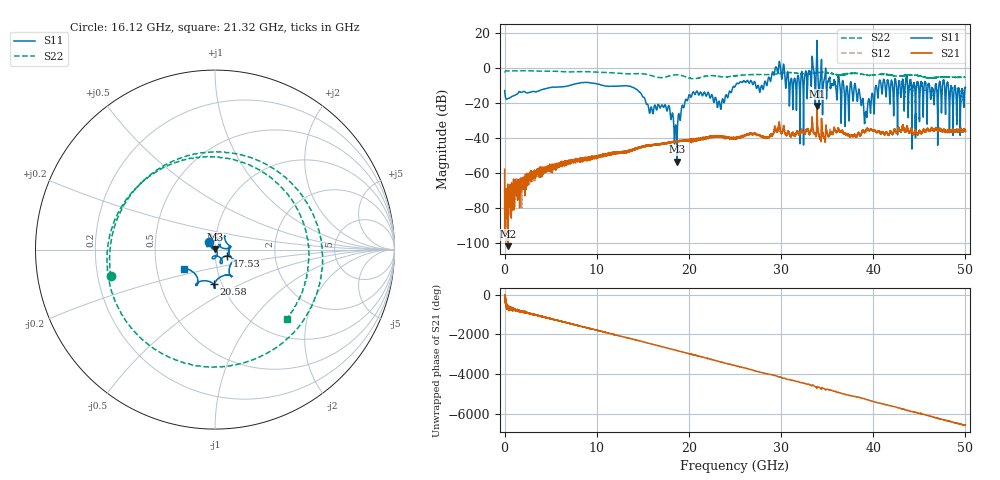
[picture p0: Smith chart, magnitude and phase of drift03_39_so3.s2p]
!Created with skrf (http://scikit-rf.org).
# Hz S RI R 50.0
!freq ReS11 ImS11 ReS21 ImS21 ReS12 ImS12 ReS22 ImS22
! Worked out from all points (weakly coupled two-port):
!   10001 points, 300 kHz to 50 GHz, reference 50 ohm
!   highest |S21| = -21.46 dB at 33.9 GHz (marker M1); lowest = -101.7 dB at 340.3 MHz (marker M2)
!   lowest |S11| = -53.5 dB at 18.7 GHz (marker M3), VSWR 1.00, Z = 50 + j0.212 ohm
!   |S11| at or under -10 dB: start of sweep to 6.947 GHz; 13.33 GHz to 25.05 GHz (11.72 GHz wide, 61.1 % of centre); 38.08 GHz to 40.26 GHz (2.189 GHz wide, 5.59 % of centre) (the widest 3 of 58)
!   |S22| runs from -5.9 to -1.3 dB; largest |S21 - S12| = 0.008
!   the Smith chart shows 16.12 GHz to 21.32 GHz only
!   S11 on the Smith chart (normalised r, x): 16.12 GHz: 0.94, +0.08; 17.53 GHz: 1.14, -0.08; 20.58 GHz: 0.92, -0.36; 21.32 GHz: 0.69, -0.16
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300000  -0.2104 -0.0984  -0.000812 -0.00101  0.000195 0.000332  -0.7669 -0.192
3.40298e8  -0.1011 0.0906  8.03e-06 -1.8e-06  -7e-05 -7.17e-05  -0.6544 0.5387
1.535291e9  0.2047 0.0433  -0.00013 -0.0004  -0.000219 -0.000469  0.8488 0.0769
3.160281e9  -0.2186 -0.00845  7.83e-05 0.00105  6.26e-05 0.000856  -0.8446 -0.0247
4.665272e9  0.2635 0.0612  0.000189 -0.00132  -5.89e-05 -0.00127  0.8187 0.1419
6.360262e9  -0.3002 0.000597  0.000483 0.00183  0.000669 0.00169  -0.8037 -0.0411
8.33525e9  0.2833 -0.2674  -0.00242 -0.000824  -0.00233 -0.000769  0.6017 -0.5354
1.043024e10  -0.042 0.3323  0.00247 -0.0021  0.00271 -0.00197  -0.0366 0.7703
1.201523e10  0.00706 -0.3082  -0.00287 0.0024  -0.00282 0.00249  0.105 -0.7302
1.61152e10  -0.0317 0.0411  0.00614 0.00194  0.00622 0.00204  -0.5796 -0.149
1.66702e10  0.0538 0.0756  0.00473 -0.00475  0.00437 -0.00468  -0.3583 0.4188
1.752519e10  0.0681 -0.035  -0.00592 -0.00377  -0.0061 -0.00379  0.4924 0.29
1.869519e10  -6.81e-05 0.00212  0.00252 0.00793  0.00251 0.00794  -0.0892 -0.6481
2.058018e10  -0.00759 -0.1917  -0.0079 -0.00358  -0.00751 -0.00451  0.378 0.3385
2.131517e10  -0.1711 -0.1081  -0.00538 0.00863  -0.00557 0.00831  0.3989 -0.3843
2.500015e10  -0.2971 -0.0487  0.0076 0.00659  0.00772 0.00662  -0.1843 -0.5801
3.051512e10  0.2369 -0.1289  -0.00204 0.0126  -0.00208 0.0125  0.742 -0.0698
3.213011e10  0.2032 0.3721  -0.000544 -0.0139  -0.000373 -0.0153  -0.6989 0.0165
3.33351e10  0.4598 -0.9714  -0.00516 0.0249  -0.00566 0.0243  0.6138 0.3654
3.38951e10  -0.7529 -6.241  0.084 0.00943  0.0801 0.00521  0.682 -0.3229
4.167005e10  -0.2172 0.2836  -0.0117 -0.00455  -0.0115 -0.00495  -0.6539 -0.0532
5e10  -0.15 -0.2481  0.0026 -0.0156  0.00101 -0.0173  0.4654 -0.3203
